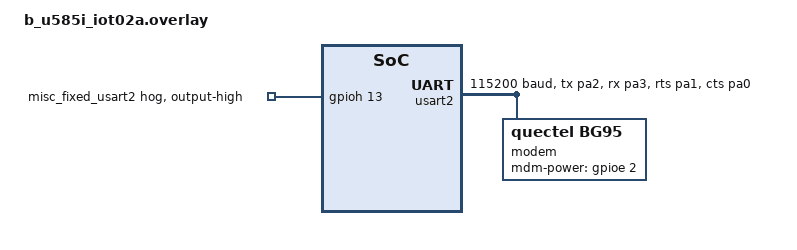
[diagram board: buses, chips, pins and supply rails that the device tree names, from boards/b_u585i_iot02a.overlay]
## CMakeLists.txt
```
# SPDX-License-Identifier: Apache-2.0

cmake_minimum_required(VERSION 3.20.0)

find_package(Zephyr REQUIRED HINTS $ENV{ZEPHYR_BASE})
project(cellular_modem)

target_sources(app PRIVATE src/main.c)
```

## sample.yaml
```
sample:
  description: Sample for cellular modem
  name: Sample for cellular modem using native networking
common:
  tags: cellular modem
tests:
  sample.net.cellular_modem:
    tags: cellular modem
    filter: dt_alias_exists("modem")
    platform_allow:
      - b_u585i_iot02a
    integration_platforms:
      - b_u585i_iot02a
```

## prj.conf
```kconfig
# Copyright (c) 2023 Bjarki Arge Andreasen
# SPDX-License-Identifier: Apache-2.0

CONFIG_POSIX_API=y

# Networking
CONFIG_NETWORKING=y
CONFIG_NET_NATIVE=y
CONFIG_NET_L2_PPP=y
CONFIG_NET_IPV4=y
CONFIG_NET_UDP=y
CONFIG_NET_SOCKETS=y
CONFIG_NET_CONTEXT_RCVTIMEO=y

# DNS
CONFIG_DNS_RESOLVER=y
CONFIG_NET_L2_PPP_OPTION_DNS_USE=y

# Network management
CONFIG_NET_MGMT=y
CONFIG_NET_MGMT_EVENT=y
CONFIG_NET_CONNECTION_MANAGER=y

# Modem driver
CONFIG_MODEM=y
CONFIG_PM_DEVICE=y
CONFIG_MODEM_CELLULAR=y

# Statistics
CONFIG_MODEM_STATS=y
CONFIG_SHELL=y

# Testing
CONFIG_MODEM_AT_SHELL=y
CONFIG_PM_DEVICE_SHELL=y
CONFIG_SHELL_WILDCARD=n

# Logging
CONFIG_LOG=y
CONFIG_MODEM_MODULES_LOG_LEVEL_DBG=y
# For extra verbosity
#CONFIG_MODEM_CMUX_LOG_LEVEL_DBG=y
#CONFIG_LOG_BUFFER_SIZE=65536
```

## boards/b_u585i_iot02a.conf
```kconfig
# Copyright (c) 2023, Bjarki Arge Andreasen
# SPDX-License-Identifier: Apache-2.0

CONFIG_UART_ASYNC_API=y
CONFIG_MODEM_CELLULAR_APN="internet"
```

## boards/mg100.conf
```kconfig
CONFIG_MODEM_HL7800=n
CONFIG_MODEM_CELLULAR_CMUX_MAX_FRAME_SIZE=255
CONFIG_NET_BUF_TX_COUNT=32
```

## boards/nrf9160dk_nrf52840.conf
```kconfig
CONFIG_UART_ASYNC_API=y
CONFIG_UART_1_ASYNC=y
CONFIG_UART_1_INTERRUPT_DRIVEN=n
# Enable HW RX byte counting. This especially matters at higher baud rates.
CONFIG_UART_1_NRF_HW_ASYNC=y
CONFIG_UART_1_NRF_HW_ASYNC_TIMER=1

# Align with the Serial LTE Modem (SLM) application.
CONFIG_MODEM_CELLULAR_CMUX_MAX_FRAME_SIZE=1500
CONFIG_MODEM_CELLULAR_UART_BUFFER_SIZES=6000

# Print logs and printk() output on uart0.
CONFIG_LOG_BACKEND_UART=y

CONFIG_MODEM_LOG_LEVEL_DBG=y

# Disable AT shell as SLM application has no AT mode user pipes
CONFIG_MODEM_AT_SHELL=n
```

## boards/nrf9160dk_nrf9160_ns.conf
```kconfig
CONFIG_UART_ASYNC_API=y
CONFIG_UART_1_ASYNC=y
CONFIG_UART_1_INTERRUPT_DRIVEN=n
# Enable HW RX byte counting. This especially matters at higher baud rates.
CONFIG_UART_1_NRF_HW_ASYNC=y
CONFIG_UART_1_NRF_HW_ASYNC_TIMER=1

# Align with the Serial LTE Modem (SLM) application.
CONFIG_MODEM_CELLULAR_CMUX_MAX_FRAME_SIZE=1500
CONFIG_MODEM_CELLULAR_UART_BUFFER_SIZES=6000

# Prevent sockets getting offloaded to the modem.
CONFIG_NET_SOCKETS_OFFLOAD=n

# Print logs and printk() output on uart0.
CONFIG_LOG_BACKEND_UART=y

CONFIG_MODEM_LOG_LEVEL_DBG=y

# Disable AT shell as SLM application has no AT mode user pipes
CONFIG_MODEM_AT_SHELL=n
```

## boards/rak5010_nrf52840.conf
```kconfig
CONFIG_UART_ASYNC_API=y
CONFIG_MODEM_CELLULAR_APN="internet"
```

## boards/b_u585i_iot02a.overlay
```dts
/ {
	aliases {
		modem-uart = &usart2;
		modem = &modem;
	};
};

&gpioh {
	misc_fixed_usart2 {
		gpio-hog;
		gpios = <13 GPIO_ACTIVE_HIGH>;
		output-high;
	};
};

&gpdma1 {
	status = "okay";
};

/* BG95 */
&usart2 {
	pinctrl-0 = <&usart2_tx_pa2 &usart2_rx_pa3 &usart2_rts_pa1 &usart2_cts_pa0>;
	pinctrl-names = "default";
	current-speed = <115200>;
	hw-flow-control;

	dmas = <&gpdma1 0 27 STM32_DMA_PERIPH_TX
		&gpdma1 1 26 STM32_DMA_PERIPH_RX>;
	dma-names = "tx", "rx";

	status = "okay";

	modem: modem {
		compatible = "quectel,bg95";
		mdm-power-gpios = <&gpioe 2 GPIO_ACTIVE_HIGH>;
		status = "okay";
	};
};
```

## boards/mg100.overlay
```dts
/ {
	aliases {
		modem-uart = &uart1;
		modem = &hl7800;
	};
};
```

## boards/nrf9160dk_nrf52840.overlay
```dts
#include <nrf52840/nrf9160dk_uart1_on_if0_3.dtsi>

/ {
	aliases {
		modem = &modem;
	};
};

&uart1 {
	current-speed = <115200>;
	hw-flow-control;

	modem: modem {
		compatible = "nordic,nrf91-slm";
		status = "okay";
		mdm-power-gpios = <&interface_to_nrf9160 4 GPIO_ACTIVE_LOW>;
	};
};
```

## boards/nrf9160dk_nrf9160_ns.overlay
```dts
/ {
	aliases {
		modem = &modem;
	};
};

&uart1 {
	compatible = "nordic,nrf-uarte";
	current-speed = <115200>;
	hw-flow-control;
	status = "okay";

	pinctrl-0 = <&uart1_default_alt>;

	modem: modem {
		compatible = "nordic,nrf91-slm";
		status = "okay";
		mdm-power-gpios = <&gpio0 20 GPIO_ACTIVE_LOW>;
	};
};

&pinctrl {
	uart1_default_alt: uart1_default_alt {
		group1 {
			psels = <NRF_PSEL(UART_RX, 0, 11)>;
			bias-pull-up;
		};
		group2 {
			psels = <NRF_PSEL(UART_TX, 0, 10)>,
				<NRF_PSEL(UART_RTS, 0, 12)>,
				<NRF_PSEL(UART_CTS, 0, 13)>;
		};
	};
};
```

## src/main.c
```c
/*
 * Copyright (c) 2023, Bjarki Arge Andreasen
 *
 * SPDX-License-Identifier: Apache-2.0
 */

#include <zephyr/device.h>
#include <zephyr/kernel.h>
#include <zephyr/net/socket.h>
#include <zephyr/net/net_if.h>
#include <zephyr/net/dns_resolve.h>
#include <zephyr/pm/device.h>
#include <zephyr/pm/device_runtime.h>
#include <string.h>

#include <zephyr/drivers/cellular.h>

#define SAMPLE_TEST_ENDPOINT_HOSTNAME		("test-endpoint.com")
#define SAMPLE_TEST_ENDPOINT_UDP_ECHO_PORT	(7780)
#define SAMPLE_TEST_ENDPOINT_UDP_RECEIVE_PORT	(7781)
#define SAMPLE_TEST_PACKET_SIZE			(1024)
#define SAMPLE_TEST_ECHO_PACKETS		(16)
#define SAMPLE_TEST_TRANSMIT_PACKETS		(128)

const struct device *modem = DEVICE_DT_GET(DT_ALIAS(modem));

static uint8_t sample_test_packet[SAMPLE_TEST_PACKET_SIZE];
static uint8_t sample_recv_buffer[SAMPLE_TEST_PACKET_SIZE];
static bool sample_test_dns_in_progress;
static struct dns_addrinfo sample_test_dns_addrinfo;

K_SEM_DEFINE(dns_query_sem, 0, 1);

static uint8_t sample_prng_random(void)
{
	static uint32_t prng_state = 1234;

	prng_state = ((1103515245 * prng_state) + 12345) % (1U << 31);
	return (uint8_t)(prng_state & 0xFF);
}

static void init_sample_test_packet(void)
{
	for (size_t i = 0; i < sizeof(sample_test_packet); i++) {
		sample_test_packet[i] = sample_prng_random();
	}
}

static void print_cellular_info(void)
{
	int rc;
	int16_t rssi;
	char buffer[64];

	rc = cellular_get_signal(modem, CELLULAR_SIGNAL_RSSI, &rssi);
	if (!rc) {
		printk("RSSI %d\n", rssi);
	}

	rc = cellular_get_modem_info(modem, CELLULAR_MODEM_INFO_IMEI, &buffer[0], sizeof(buffer));
	if (!rc) {
		printk("IMEI: %s\n", buffer);
	}
	rc = cellular_get_modem_info(modem, CELLULAR_MODEM_INFO_MODEL_ID, &buffer[0],
				     sizeof(buffer));
	if (!rc) {
		printk("MODEL_ID: %s\n", buffer);
	}
	rc = cellular_get_modem_info(modem, CELLULAR_MODEM_INFO_MANUFACTURER, &buffer[0],
				     sizeof(buffer));
	if (!rc) {
		printk("MANUFACTURER: %s\n", buffer);
	}
	rc = cellular_get_modem_info(modem, CELLULAR_MODEM_INFO_SIM_IMSI, &buffer[0],
				     sizeof(buffer));
	if (!rc) {
		printk("SIM_IMSI: %s\n", buffer);
	}
	rc = cellular_get_modem_info(modem, CELLULAR_MODEM_INFO_SIM_ICCID, &buffer[0],
				     sizeof(buffer));
	if (!rc) {
		printk("SIM_ICCID: %s\n", buffer);
	}
	rc = cellular_get_modem_info(modem, CELLULAR_MODEM_INFO_FW_VERSION, &buffer[0],
				     sizeof(buffer));
	if (!rc) {
		printk("FW_VERSION: %s\n", buffer);
	}
}

static void sample_dns_request_result(enum dns_resolve_status status, struct dns_addrinfo *info,
				      void *user_data)
{
	if (sample_test_dns_in_progress == false) {
		return;
	}

	if (status != DNS_EAI_INPROGRESS) {
		return;
	}

	sample_test_dns_in_progress = false;
	sample_test_dns_addrinfo = *info;
	k_sem_give(&dns_query_sem);
}

static int sample_dns_request(void)
{
	static uint16_t dns_id;
	int ret;

	sample_test_dns_in_progress = true;
	ret = dns_get_addr_info(SAMPLE_TEST_ENDPOINT_HOSTNAME,
				DNS_QUERY_TYPE_A,
				&dns_id,
				sample_dns_request_result,
				NULL,
				19000);
	if (ret < 0) {
		return -EAGAIN;
	}

	if (k_sem_take(&dns_query_sem, K_SECONDS(20)) < 0) {
		return -EAGAIN;
	}

	return 0;
}

int sample_echo_packet(struct sockaddr *ai_addr, socklen_t ai_addrlen, uint16_t *port)
{
	int ret;
	int socket_fd;
	uint32_t packets_sent = 0;
	uint32_t send_start_ms;
	uint32_t echo_received_ms;
	uint32_t accumulated_ms = 0;

	printk("Opening UDP socket\n");

	socket_fd = socket(AF_INET, SOCK_DGRAM, IPPROTO_UDP);
	if (socket_fd < 0) {
		printk("Failed to open socket (%d)\n", errno);
		return -1;
	}

	{
		const struct timeval tv = { .tv_sec = 10 };

		if (zsock_setsockopt(socket_fd, SOL_SOCKET, SO_RCVTIMEO, &tv, sizeof(tv)) < 0) {
			printk("Failed to set socket receive timeout (%d)\n", errno);
			return -1;
		}
	}

	printk("Socket opened\n");

	*port = htons(SAMPLE_TEST_ENDPOINT_UDP_ECHO_PORT);

	for (uint32_t i = 0; i < SAMPLE_TEST_ECHO_PACKETS; i++) {
		printk("Sending echo packet\n");
		send_start_ms = k_uptime_get_32();

		ret = sendto(socket_fd, sample_test_packet, sizeof(sample_test_packet), 0,
			     ai_addr, ai_addrlen);

		if (ret < sizeof(sample_test_packet)) {
			printk("Failed to send sample test packet\n");
			continue;
		}

		printk("Receiving echoed packet\n");
		ret = recv(socket_fd, sample_recv_buffer, sizeof(sample_recv_buffer), 0);
		if (ret != sizeof(sample_test_packet)) {
			if (ret == -1) {
				printk("Failed to receive echoed sample test packet (%d)\n", errno);
			} else {
				printk("Echoed sample test packet has incorrect size (%d)\n", ret);
			}
			continue;
		}

		echo_received_ms = k_uptime_get_32();

		if (memcmp(sample_test_packet, sample_recv_buffer,
			   sizeof(sample_recv_buffer)) != 0) {
			printk("Echoed sample test packet data mismatch\n");
			continue;
		}

		packets_sent++;
		accumulated_ms += echo_received_ms - send_start_ms;

		printk("Echo transmit time %ums\n", echo_received_ms - send_start_ms);
	}

	printk("Successfully sent and received %u of %u packets\n", packets_sent,
	       SAMPLE_TEST_ECHO_PACKETS);

	if (packets_sent > 0) {
		printk("Average time per successful echo: %u ms\n",
		accumulated_ms / packets_sent);
	}

	printk("Close UDP socket\n");

	ret = close(socket_fd);
	if (ret < 0) {
		printk("Failed to close socket\n");
		return -1;
	}

	return 0;
}


int sample_transmit_packets(struct sockaddr *ai_addr, socklen_t ai_addrlen, uint16_t *port)
{
	int ret;
	int socket_fd;
	uint32_t packets_sent = 0;
	uint32_t packets_received;
	uint32_t packets_dropped;
	uint32_t send_start_ms;
	uint32_t send_end_ms;

	printk("Opening UDP socket\n");

	socket_fd = socket(AF_INET, SOCK_DGRAM, IPPROTO_UDP);
	if (socket_fd < 0) {
		printk("Failed to open socket\n");
		return -1;
	}

	printk("Socket opened\n");

	*port = htons(SAMPLE_TEST_ENDPOINT_UDP_RECEIVE_PORT);

	printk("Sending %u packets\n", SAMPLE_TEST_TRANSMIT_PACKETS);
	send_start_ms = k_uptime_get_32();
	for (uint32_t i = 0; i < SAMPLE_TEST_TRANSMIT_PACKETS; i++) {
		ret = sendto(socket_fd, sample_test_packet, sizeof(sample_test_packet), 0,
			     ai_addr, ai_addrlen);

		if (ret < sizeof(sample_test_packet)) {
			printk("Failed to send sample test packet\n");
			break;
		}

		packets_sent++;
	}
	send_end_ms = k_uptime_get_32();

	printk("Awaiting response from server\n");
	ret = recv(socket_fd, sample_recv_buffer, sizeof(sample_recv_buffer), 0);
	if (ret != 2) {
		printk("Invalid response\n");
		return -1;
	}

	packets_received = sample_recv_buffer[0];
	packets_dropped = sample_recv_buffer[1];
	printk("Server received %u/%u packets\n", packets_received, packets_sent);
	printk("Server dropped %u packets\n", packets_dropped);
	printk("Time elapsed sending packets %ums\n", send_end_ms - send_start_ms);
	printk("Throughput %u bytes/s\n",
	       ((SAMPLE_TEST_PACKET_SIZE * SAMPLE_TEST_TRANSMIT_PACKETS) * 1000) /
	       (send_end_ms - send_start_ms));

	printk("Close UDP socket\n");
	ret = close(socket_fd);
	if (ret < 0) {
		printk("Failed to close socket\n");
		return -1;
	}

	return 0;
}

int main(void)
{
	struct net_if *const iface = net_if_get_first_by_type(&NET_L2_GET_NAME(PPP));
	uint16_t *port;
	int ret;

	init_sample_test_packet();

	printk("Powering on modem\n");
	pm_device_action_run(modem, PM_DEVICE_ACTION_RESUME);

	printk("Bring up network interface\n");
	ret = net_if_up(iface);
	if (ret < 0) {
		printk("Failed to bring up network interface\n");
		return -1;
	}

	printk("Waiting for L4 connected\n");
	ret = net_mgmt_event_wait_on_iface(iface, NET_EVENT_L4_CONNECTED, NULL, NULL, NULL,
					   K_SECONDS(120));

	if (ret != 0) {
		printk("L4 was not connected in time\n");
		return -1;
	}

	printk("Waiting for DNS server added\n");
	ret = net_mgmt_event_wait_on_iface(iface, NET_EVENT_DNS_SERVER_ADD, NULL, NULL, NULL,
					   K_SECONDS(10));
	if (ret) {
		printk("DNS server was not added in time\n");
		return -1;
	}

	printk("Retrieving cellular info\n");
	print_cellular_info();

	printk("Performing DNS lookup of %s\n", SAMPLE_TEST_ENDPOINT_HOSTNAME);
	ret = sample_dns_request();
	if (ret < 0) {
		printk("DNS query failed\n");
		return -1;
	}

	{
		char ip_str[INET6_ADDRSTRLEN];
		const void *src;

		switch (sample_test_dns_addrinfo.ai_addr.sa_family) {
		case AF_INET:
			src = &net_sin(&sample_test_dns_addrinfo.ai_addr)->sin_addr;
			port = &net_sin(&sample_test_dns_addrinfo.ai_addr)->sin_port;
			break;
		case AF_INET6:
			src = &net_sin6(&sample_test_dns_addrinfo.ai_addr)->sin6_addr;
			port = &net_sin6(&sample_test_dns_addrinfo.ai_addr)->sin6_port;
			break;
		default:
			printk("Unsupported address family\n");
			return -1;
		}
		inet_ntop(sample_test_dns_addrinfo.ai_addr.sa_family, src, ip_str, sizeof(ip_str));
		printk("Resolved to %s\n", ip_str);
	}

	ret = sample_echo_packet(&sample_test_dns_addrinfo.ai_addr,
				 sample_test_dns_addrinfo.ai_addrlen, port);

	if (ret < 0) {
		printk("Failed to send echos\n");
		return -1;
	}

	ret = sample_transmit_packets(&sample_test_dns_addrinfo.ai_addr,
				      sample_test_dns_addrinfo.ai_addrlen, port);

	if (ret < 0) {
		printk("Failed to send packets\n");
		return -1;
	}

	printk("Restart modem\n");
	ret = pm_device_action_run(modem, PM_DEVICE_ACTION_SUSPEND);
	if (ret != 0) {
		printk("Failed to power down modem\n");
		return -1;
	}

	pm_device_action_run(modem, PM_DEVICE_ACTION_RESUME);

	printk("Waiting for L4 connected\n");
	ret = net_mgmt_event_wait_on_iface(iface, NET_EVENT_L4_CONNECTED, NULL, NULL, NULL,
					   K_SECONDS(60));
	if (ret != 0) {
		printk("L4 was not connected in time\n");
		return -1;
	}
	printk("L4 connected\n");

	/* Wait a bit to avoid (unsuccessfully) trying to send the first echo packet too quickly. */
	k_sleep(K_SECONDS(5));

	ret = sample_echo_packet(&sample_test_dns_addrinfo.ai_addr,
				 sample_test_dns_addrinfo.ai_addrlen, port);

	if (ret < 0) {
		printk("Failed to send echos after restart\n");
		return -1;
	}

	ret = net_if_down(iface);
	if (ret < 0) {
		printk("Failed to bring down network interface\n");
		return -1;
	}

	printk("Powering down modem\n");
	ret = pm_device_action_run(modem, PM_DEVICE_ACTION_SUSPEND);
	if (ret != 0) {
		printk("Failed to power down modem\n");
		return -1;
	}

	printk("Sample complete\n");
	return 0;
}
```
